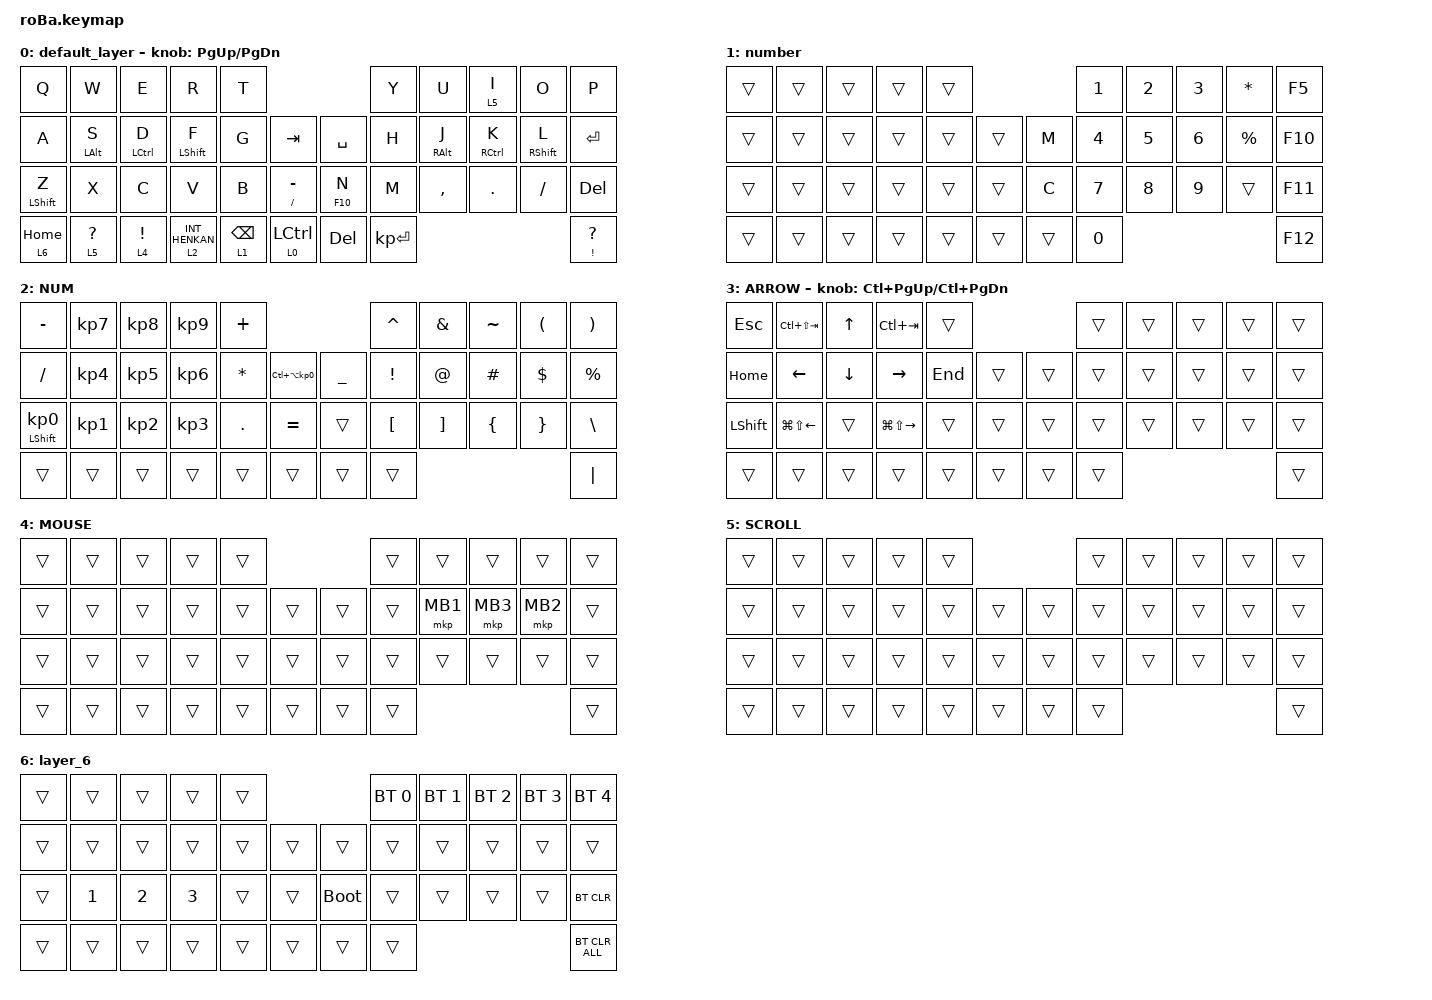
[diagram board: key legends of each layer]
#include <behaviors.dtsi>
#include <dt-bindings/zmk/bt.h>
#include <dt-bindings/zmk/keys.h>
#include <dt-bindings/zmk/pointing.h>

&mt {
    flavor = "balanced";
    quick-tap-ms = <0>;
};

&trackball {
    automouse-layer = <4>;
    scroll-layers = <5>;

    // arrows {
    //     layers = <3>;
    //     bindings =
    //         <&kp RIGHT_ARROW>,
    //         <&kp LEFT_ARROW>,
    //         <&kp UP_ARROW>,
    //         <&kp DOWN_ARROW>;
    //     tick = <10>;
    //     wait-ms = <5>;
    //     tap-ms = <5>;
    // };
};

/ {
    combos {
        compatible = "zmk,combos";

        tab {
            bindings = <&kp TAB>;
            key-positions = <11 12>;
        };

        shift_tab {
            bindings = <&kp LS(TAB)>;
            key-positions = <12 13>;
        };

        muhennkann {
            bindings = <&to_layer_0 INT_MUHENKAN>;
            key-positions = <11 10>;
        };

        double_quotation {
            bindings = <&kp DOUBLE_QUOTES>;
            key-positions = <20 21>;
        };

        eq {
            bindings = <&kp EQUAL>;
            key-positions = <24 25>;
        };
    };

    macros {
        to_layer_0: to_layer_0 {
            compatible = "zmk,behavior-macro-one-param";
            #binding-cells = <1>;
            bindings = <&to 0 &macro_param_1to1 &kp MACRO_PLACEHOLDER>;
            label = "TO_LAYER_0";
        };
    };

    behaviors {
        lt_to_layer_0: lt_to_layer_0 {
            compatible = "zmk,behavior-hold-tap";
            label = "LAYER_TAP_TO_0";
            bindings = <&mo>, <&to_layer_0>;

            #binding-cells = <2>;
            tapping-term-ms = <200>;
        };
    };

    keymap {
        compatible = "zmk,keymap";

        default_layer {
            bindings = <
&kp Q                  &kp W                      &kp E                         &kp R                        &kp T                                                    &kp Y         &kp U            &lt 5 I      &kp O              &kp P
&kp A                  &mt LEFT_ALT S             &mt LCTRL D                   &mt LEFT_SHIFT F             &kp G            &kp TAB                     &kp SPACE   &kp H         &mt RIGHT_ALT J  &mt RCTRL K  &mt RIGHT_SHIFT L  &kp ENTER
&mt LEFT_SHIFT Z       &kp X                      &kp C                         &kp V                        &kp B            &mt SLASH MINUS             &mt F10 N   &kp M         &kp COMMA        &kp PERIOD   &kp SLASH          &kp DEL
&lt_to_layer_0 6 HOME  &lt_to_layer_0 5 QUESTION  &lt_to_layer_0 4 EXCLAMATION  &lt_to_layer_0 2 INT_HENKAN  &lt 1 BACKSPACE  &lt_to_layer_0 0 LCTRL      &kp DELETE  &kp KP_ENTER                                                   &mt EXCLAMATION QUESTION
            >;

            sensor-bindings = <&inc_dec_kp PG_UP PAGE_DOWN>;
        };

        number {
            bindings = <
&trans  &trans  &trans  &trans  &trans                      &kp NUMBER_1  &kp NUMBER_2  &kp NUMBER_3  &kp ASTERISK  &kp F5
&trans  &trans  &trans  &trans  &trans  &trans      &kp M   &kp NUMBER_4  &kp N5        &kp NUMBER_6  &kp PERCENT   &kp F10
&trans  &trans  &trans  &trans  &trans  &trans      &kp C   &kp NUMBER_7  &kp N8        &kp NUMBER_9  &trans        &kp F11
&trans  &trans  &trans  &trans  &trans  &trans      &trans  &kp NUMBER_0                                            &kp F12
            >;
        };

        NUM {
            bindings = <
&kp MINUS                   &kp KP_NUMBER_7  &kp KP_NUMBER_8  &kp KP_NUMBER_9  &kp PLUS                                                   &kp CARET         &kp AMPERSAND      &kp TILDE       &kp LEFT_PARENTHESIS  &kp RIGHT_PARENTHESIS
&kp SLASH                   &kp KP_NUMBER_4  &kp KP_NUMBER_5  &kp KP_NUMBER_6  &kp ASTERISK  &kp LC(LA(KP_NUMBER_0))      &kp UNDERSCORE  &kp EXCLAMATION   &kp AT_SIGN        &kp HASH        &kp DOLLAR            &kp PERCENT
&mt LEFT_SHIFT KP_NUMBER_0  &kp KP_NUMBER_1  &kp KP_NUMBER_2  &kp KP_NUMBER_3  &kp PERIOD    &kp EQUAL                    &trans          &kp LEFT_BRACKET  &kp RIGHT_BRACKET  &kp LEFT_BRACE  &kp RIGHT_BRACE       &kp BACKSLASH
&trans                      &trans           &trans           &trans           &trans        &trans                       &trans          &trans                                                                     &kp PIPE
            >;
        };

        ARROW {
            bindings = <
&kp ESCAPE      &kp LC(LS(TAB))         &kp UP_ARROW    &kp LC(TAB)              &trans                       &trans  &trans  &trans  &trans  &trans
&kp HOME        &kp LEFT_ARROW          &kp DOWN_ARROW  &kp RIGHT_ARROW          &kp END  &trans      &trans  &trans  &trans  &trans  &trans  &trans
&kp LEFT_SHIFT  &kp LG(LS(LEFT_ARROW))  &trans          &kp LG(LS(RIGHT_ARROW))  &trans   &trans      &trans  &trans  &trans  &trans  &trans  &trans
&trans          &trans                  &trans          &trans                   &trans   &trans      &trans  &trans                          &trans
            >;

            sensor-bindings = <&inc_dec_kp LC(PAGE_UP) LC(PAGE_DOWN)>;
        };

        MOUSE {
            bindings = <
&trans  &trans  &trans  &trans  &trans                      &trans  &trans    &trans    &trans    &trans
&trans  &trans  &trans  &trans  &trans  &trans      &trans  &trans  &mkp MB1  &mkp MB3  &mkp MB2  &trans
&trans  &trans  &trans  &trans  &trans  &trans      &trans  &trans  &trans    &trans    &trans    &trans
&trans  &trans  &trans  &trans  &trans  &trans      &trans  &trans                                &trans
            >;
        };

        SCROLL {
            bindings = <
&trans  &trans  &trans  &trans  &trans                      &trans  &trans  &trans  &trans  &trans
&trans  &trans  &trans  &trans  &trans  &trans      &trans  &trans  &trans  &trans  &trans  &trans
&trans  &trans  &trans  &trans  &trans  &trans      &trans  &trans  &trans  &trans  &trans  &trans
&trans  &trans  &trans  &trans  &trans  &trans      &trans  &trans                          &trans
            >;
        };

        layer_6 {
            bindings = <
&trans  &trans        &trans        &trans        &trans                           &bt BT_SEL 0  &bt BT_SEL 1  &bt BT_SEL 2  &bt BT_SEL 3  &bt BT_SEL 4
&trans  &trans        &trans        &trans        &trans  &trans      &trans       &trans        &trans        &trans        &trans        &trans
&trans  &kp NUMBER_1  &kp NUMBER_2  &kp NUMBER_3  &trans  &trans      &bootloader  &trans        &trans        &trans        &trans        &bt BT_CLR
&trans  &trans        &trans        &trans        &trans  &trans      &trans       &trans                                                  &bt BT_CLR_ALL
            >;
        };
    };
};
